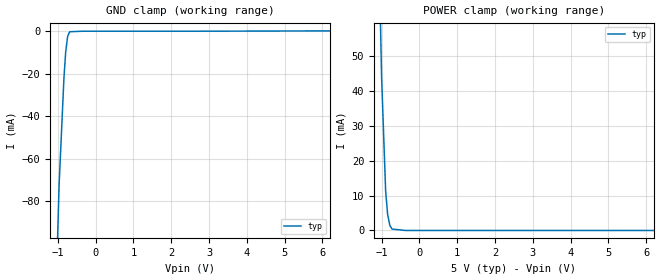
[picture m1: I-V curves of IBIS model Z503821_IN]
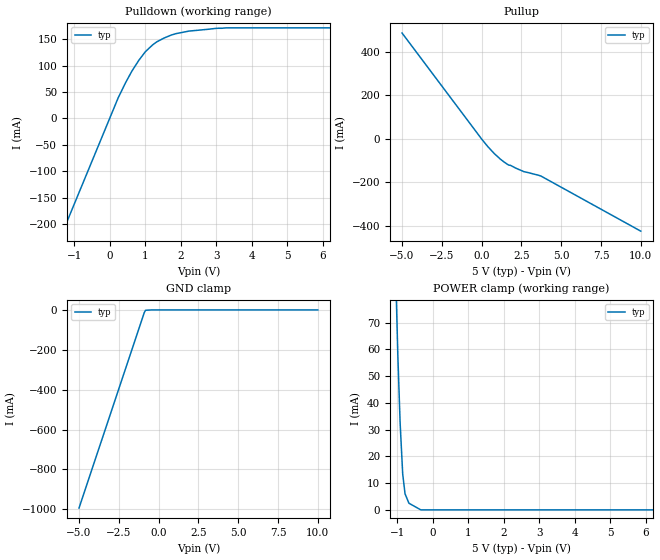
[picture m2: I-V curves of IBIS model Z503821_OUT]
| YOU ARE ONLY AUTHORIZED TO USE THIS SOFTWARE
| ACCORDING TO LICENSOR'S LICENSE RESTRICTIONS.
[IBIS Ver] 3.1
[File Name] mc74act00d.ibs
[File Rev] 2.0
[Source] Measured and created by ICX Technology
[Date] Friday 7/14/00 9:08:01 AM
[Copyright]
| (C) COPYRIGHT 1993-2000
| MENTOR GRAPHICS CORPORATION
| ICX STANDARD LIBRARY, ICX PROJECT MODELING,
| ICX CUSTOM MODELING, ICX VENDOR MODEL
| ALL RIGHTS RESERVED.
| THE FOLLOWING ARE TRADEMARKS OR SERVICE MARKS OF
| MENTOR GRAPHICS CORPORATION:ICX (R), ICX STANDARD
| LIBRARY(R), ICX PROJECT MODELING(R), ICX CUSTOM
| MODELING(R), qualityIBIS(TM), MODELVIEWER(TM),
| AND MODELEDITOR(TM)
| ALL COPIES OF SOFTWARE, INCLUDING BUT NOT LIMITED TO
| ANY MODIFICATIONS, ENHANCEMENTS OR DERIVATIVE WORKS,
| MUST CONTAIN ALL MENTOR GRAPHICS CORPORATION'S
| NOTICES AND LEGENDS, INCLUDING THOSE EMBEDDED IN
| SOFTWARE AND THOSE AFFIXED TO SOFTWARE MEDIUM
| AND CONTAINER, AS RECEIVED FROM MENTOR GRAPHICS
| CORPORATION.
|  ZAP Model Builder 2.7
[Component] MC74ACT00D
[Manufacturer] OnSemiconductor
[Package]
| variable   typ   min   max
R_pkg  .155ohms NA NA
L_pkg  3.028nH NA NA
C_pkg  .381pF NA NA
[Pin] signal_name  model_name  R_pin  L_pin C_pin
1 1A Z503821_IN .16 3.587n .407p
2 1B Z503821_IN .156 3.147n .387p
3 1Y Z503821_OUT .152 2.717n .367p
4 2A Z503821_IN .148 2.297n .347p
5 2B Z503821_IN .152 2.717n .367p
6 2Y Z503821_OUT .156 3.147n .387p
7 GND GND .16 3.587n .407p
8 3Y Z503821_OUT .16 3.587n .407p
9 3A Z503821_IN .156 3.147n .387p
10 3B Z503821_IN .152 2.717n .367p
11 4Y Z503821_OUT .148 2.297n .347p
12 4A Z503821_IN .152 2.717n .367p
13 4B Z503821_IN .156 3.147n .387p
14 VCC POWER .16 3.587n .407p
| Models and submodels in the file (2): Z503821_IN (Input), Z503821_OUT (Output)
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| (C) COPYRIGHT 1993-2000
| MENTOR GRAPHICS CORPORATION
| ICX STANDARD LIBRARY, ICX PROJECT MODELING,
| ICX CUSTOM MODELING, ICX VENDOR MODEL
| ALL RIGHTS RESERVED.
| THE FOLLOWING ARE TRADEMARKS OR SERVICE MARKS OF
| MENTOR GRAPHICS CORPORATION:ICX (R), ICX STANDARD
| LIBRARY(R), ICX PROJECT MODELING(R), ICX CUSTOM
| MODELING(R), qualityIBIS(TM), MODELVIEWER(TM),
| AND MODELEDITOR(TM)
| ALL COPIES OF SOFTWARE, INCLUDING BUT NOT LIMITED TO
| ANY MODIFICATIONS, ENHANCEMENTS OR DERIVATIVE WORKS,
| MUST CONTAIN ALL MENTOR GRAPHICS CORPORATION'S
| NOTICES AND LEGENDS, INCLUDING THOSE EMBEDDED IN
| SOFTWARE AND THOSE AFFIXED TO SOFTWARE MEDIUM
| AND CONTAINER, AS RECEIVED FROM MENTOR GRAPHICS
| CORPORATION.
| Model Application Version 1.89 2/18/99.
[Model] Z503821_IN
Model_type Input
Vinl = 800.0mV
Vinh = 2.000V
C_comp 4.000pF NA NA
| variable typ   min   max
[Voltage Range] 5.000V NA NA
[GND Clamp Reference] 0.000V NA NA
[POWER Clamp Reference] 5.000V NA NA
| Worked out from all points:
|   GND clamp passes 1 mA (typ) near -0.71 V on its own axis
|   POWER clamp passes 1 mA (typ) near -0.76 V on its own axis
[GND Clamp]
-5V       -2.589A    NA         NA
-966.2mV  -72.04mA   NA         NA
-838.1mV  -21.81mA   NA         NA
-791.7mV  -9.623mA   NA         NA
-741.2mV  -2.536mA   NA         NA
-698.1mV  -628.5uA   NA         NA
-679mV    -253.3uA   NA         NA
-339.5mV  -22.82uA   NA         NA
2.513V    -22.82uA   NA         NA
10V       293.1uA    NA         NA
[POWER Clamp]
-5V       2.517A     NA         NA
-1.142V   118.2mA    NA         NA
-1V       44.02mA    NA         NA
-893mV    11.34mA    NA         NA
-840mV    4.581mA    NA         NA
-781mV    1.421mA    NA         NA
-723mV    407.8uA    NA         NA
-361.5mV  0A         NA         NA
10V       0A         NA         NA
| (C) COPYRIGHT 1993-2000
| MENTOR GRAPHICS CORPORATION
| ICX STANDARD LIBRARY, ICX PROJECT MODELING,
| ICX CUSTOM MODELING, ICX VENDOR MODEL
| ALL RIGHTS RESERVED.
| THE FOLLOWING ARE TRADEMARKS OR SERVICE MARKS OF
| MENTOR GRAPHICS CORPORATION:ICX (R), ICX STANDARD
| LIBRARY(R), ICX PROJECT MODELING(R), ICX CUSTOM
| MODELING(R), qualityIBIS(TM), MODELVIEWER(TM),
| AND MODELEDITOR(TM)
| ALL COPIES OF SOFTWARE, INCLUDING BUT NOT LIMITED TO
| ANY MODIFICATIONS, ENHANCEMENTS OR DERIVATIVE WORKS,
| MUST CONTAIN ALL MENTOR GRAPHICS CORPORATION'S
| NOTICES AND LEGENDS, INCLUDING THOSE EMBEDDED IN
| SOFTWARE AND THOSE AFFIXED TO SOFTWARE MEDIUM
| AND CONTAINER, AS RECEIVED FROM MENTOR GRAPHICS
| CORPORATION.
| Model Application Version 1.89 2/18/99.
[Model] Z503821_OUT
Model_type Output
Vref=0.000V
Rref=500.0Mohms
Cref=50.00pF
Vmeas=1.500V
C_comp 8.000pF NA NA
| variable typ   min   max
[Voltage Range] 5.000V NA NA
[POWER Clamp Reference] 5.000V NA NA
[Pullup Reference] 5.000V NA NA
[Pulldown Reference] 0.000V NA NA
[GND Clamp Reference] 0.000V NA NA
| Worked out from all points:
|   slope of the pulldown table from 0 to 0.75 V, typ, clamps not added: 7.34 ohm
|   slope of the pullup table from 0 to 0.75 V, typ, clamps not added: 11.8 ohm
[GND Clamp]
-5V       -993.5mA   NA         NA
-893.9mV  -12.36mA   NA         NA
-820.1mV  -1.623mA   NA         NA
-410.1mV  0A         NA         NA
10V       0A         NA         NA
[Pulldown]
-5V       -810.6mA   NA         NA
239.6mV   38.94mA    NA         NA
449.5mV   67.67mA    NA         NA
626.5mV   89.47mA    NA         NA
824.5mV   110.1mA    NA         NA
1.007V    126.2mA    NA         NA
1.33V     144.8mA    NA         NA
1.735V    157.6mA    NA         NA
2.236V    165.1mA    NA         NA
3.272V    171.1mA    NA         NA
10V       171.2mA    NA         NA
[Pullup]
-5V       486.7mA    NA         NA
14mV      -2.278mA   NA         NA
787mV     -67.47mA   NA         NA
1.181V    -93.87mA   NA         NA
1.716V    -121.5mA   NA         NA
2.637V    -150.9mA   NA         NA
3.725V    -171.4mA   NA         NA
10V       -425.1mA   NA         NA
[POWER Clamp]
-5V       2.104A     NA         NA
-983mV    58.06mA    NA         NA
-918mV    32.59mA    NA         NA
-845mV    13.39mA    NA         NA
-779mV    5.989mA    NA         NA
-670mV    2.478mA    NA         NA
-335mV    0A         NA         NA
10V       0A         NA         NA
[Ramp]
| variable typ min max
dV/dt_r 2.942/498.4p NA NA
dV/dt_f 2.942/807.0p NA NA
R_load = 500.0Ohms
